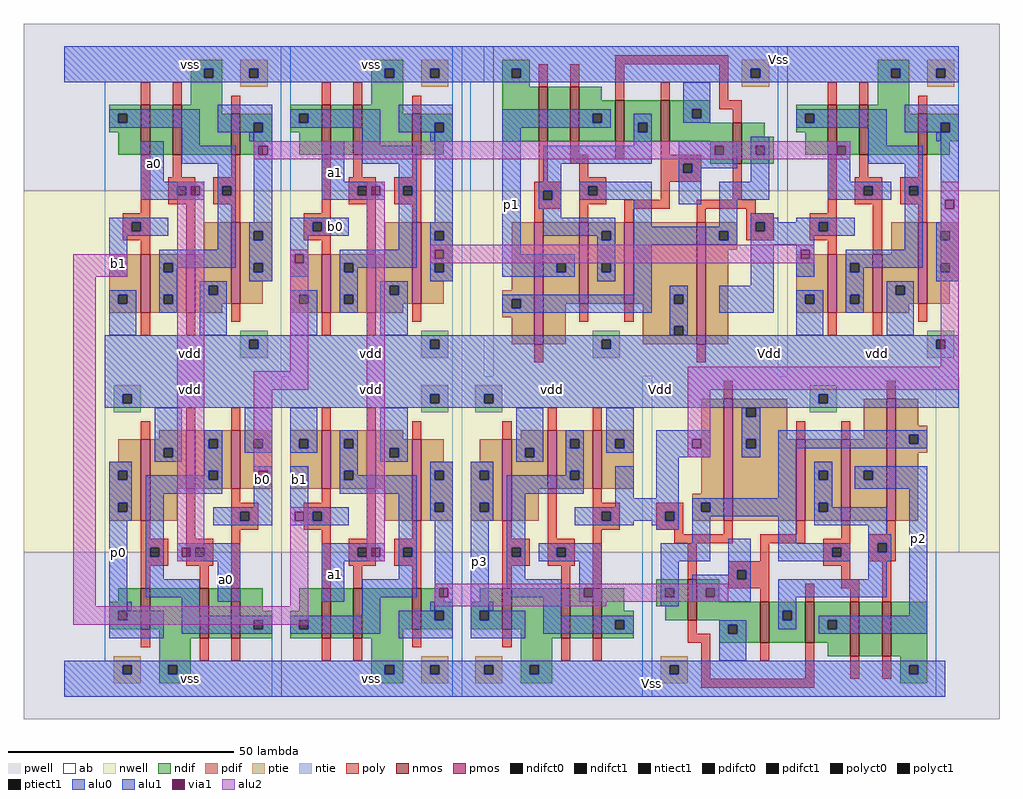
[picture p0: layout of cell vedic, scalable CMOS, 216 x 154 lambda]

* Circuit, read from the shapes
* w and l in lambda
.subckt vedic Vdd Vss a0 a1 b0 b1 p0 p1 p2 p3
M1 Vss n1 p0 Vss nfet w=9 l=2
M2 n2 b1 n3 Vss nfet w=11 l=2
M3 Vss a0 n2 Vss nfet w=11 l=2
M4 n4 a0 Vss Vss nfet w=11 l=2
M5 n1 b0 n4 Vss nfet w=11 l=2
M6 n5 n3 Vss Vss nfet w=9 l=2
M7 n6 b1 n7 Vss nfet w=11 l=2
M8 n8 b0 n9 Vss nfet w=11 l=2
M9 Vss a1 n6 Vss nfet w=11 l=2
M10 Vss a1 n8 Vss nfet w=11 l=2
M11 n10 n7 Vss Vss nfet w=9 l=2
M12 n11 n9 Vss Vss nfet w=9 l=2
M13 Vss n12 p3 Vss nfet w=9 l=2
M14 n13 n14 Vss Vss nfet w=12 l=2
M15 n15 n10 Vss Vss nfet w=11 l=2
M16 p1 n16 n13 Vss nfet w=12 l=2
M17 n12 n17 n15 Vss nfet w=11 l=2
M18 n14 n11 p1 Vss nfet w=9 l=2
M19 Vss n5 n14 Vss nfet w=9 l=2
M20 Vss n17 n18 Vss nfet w=9 l=2
M21 n16 n11 Vss Vss nfet w=9 l=2
M22 n19 n10 Vss Vss nfet w=9 l=2
M23 p2 n17 n19 Vss nfet w=9 l=2
M24 n20 n11 n21 Vss nfet w=11 l=2
M25 n22 n18 p2 Vss nfet w=12 l=2
M26 Vss n5 n20 Vss nfet w=11 l=2
M27 Vss n19 n22 Vss nfet w=12 l=2
M28 n17 n21 Vss Vss nfet w=9 l=2
M29 Vdd n1 p0 Vdd pfet w=18 l=2
M30 n3 b1 Vdd Vdd pfet w=13 l=2
M31 n1 a0 Vdd Vdd pfet w=13 l=2
M32 Vdd a0 n3 Vdd pfet w=13 l=2
M33 Vdd b0 n1 Vdd pfet w=13 l=2
M34 n5 n3 Vdd Vdd pfet w=18 l=2
M35 n7 b1 Vdd Vdd pfet w=13 l=2
M36 n9 b0 Vdd Vdd pfet w=13 l=2
M37 Vdd a1 n7 Vdd pfet w=13 l=2
M38 Vdd a1 n9 Vdd pfet w=13 l=2
M39 n10 n7 Vdd Vdd pfet w=18 l=2
M40 n11 n9 Vdd Vdd pfet w=18 l=2
M41 Vdd n12 p3 Vdd pfet w=18 l=2
M42 p1 n14 n16 Vdd pfet w=27 l=2
M43 n12 n10 Vdd Vdd pfet w=13 l=2
M44 n14 n16 p1 Vdd pfet w=18 l=2
M45 Vdd n17 n12 Vdd pfet w=13 l=2
M46 Vdd n5 n14 Vdd pfet w=18 l=2
M47 n16 n11 Vdd Vdd pfet w=27 l=2
M48 Vdd n17 n18 Vdd pfet w=27 l=2
M49 n19 n10 Vdd Vdd pfet w=18 l=2
M50 n21 n11 Vdd Vdd pfet w=13 l=2
M51 p2 n18 n19 Vdd pfet w=18 l=2
M52 Vdd n5 n21 Vdd pfet w=13 l=2
M53 n18 n19 p2 Vdd pfet w=27 l=2
M54 n17 n21 Vdd Vdd pfet w=18 l=2
.ends

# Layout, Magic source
magic
tech scmos
<< ab >>
rect 18 142 66 150
rect 27 77 66 142
rect 68 77 104 150
rect 27 14 64 77
rect 18 6 64 14
rect 66 6 104 77
rect 106 142 111 150
rect 106 86 108 142
rect 106 77 111 86
rect 113 77 176 150
rect 178 118 216 150
rect 178 77 225 118
rect 106 6 146 77
rect 148 6 211 77
rect 216 38 225 77
<< nwell >>
rect 9 38 225 118
<< pwell >>
rect 9 118 225 155
rect 9 1 225 38
<< poly >>
rect 35 137 37 142
rect 42 137 44 142
rect 55 135 57 139
rect 75 137 77 142
rect 82 137 84 142
rect 140 146 165 148
rect 123 141 125 146
rect 130 141 132 146
rect 95 135 97 139
rect 140 138 142 146
rect 150 138 152 142
rect 163 138 165 146
rect 163 136 168 138
rect 187 137 189 142
rect 194 137 196 142
rect 166 133 168 136
rect 35 113 37 126
rect 42 121 44 126
rect 55 121 57 126
rect 41 119 47 121
rect 41 117 43 119
rect 45 117 47 119
rect 41 115 47 117
rect 51 119 57 121
rect 51 117 53 119
rect 55 117 57 119
rect 51 115 57 117
rect 31 111 37 113
rect 31 109 33 111
rect 35 109 37 111
rect 31 107 37 109
rect 35 104 37 107
rect 45 104 47 115
rect 55 111 57 115
rect 75 113 77 126
rect 82 121 84 126
rect 95 121 97 126
rect 81 119 87 121
rect 81 117 83 119
rect 85 117 87 119
rect 81 115 87 117
rect 91 119 97 121
rect 123 120 125 129
rect 130 126 132 129
rect 130 124 134 126
rect 140 125 142 129
rect 150 126 152 129
rect 132 121 134 124
rect 150 124 159 126
rect 207 135 209 139
rect 150 122 155 124
rect 157 122 159 124
rect 91 117 93 119
rect 95 117 97 119
rect 91 115 97 117
rect 71 111 77 113
rect 71 109 73 111
rect 75 109 77 111
rect 71 107 77 109
rect 75 104 77 107
rect 85 104 87 115
rect 95 111 97 115
rect 122 118 128 120
rect 122 116 124 118
rect 126 116 128 118
rect 122 114 128 116
rect 132 119 138 121
rect 132 117 134 119
rect 136 117 138 119
rect 132 115 138 117
rect 150 120 159 122
rect 150 116 152 120
rect 166 116 168 124
rect 122 111 124 114
rect 132 111 134 115
rect 142 114 152 116
rect 158 114 171 116
rect 142 111 144 114
rect 158 111 160 114
rect 169 113 171 114
rect 187 113 189 126
rect 194 121 196 126
rect 207 121 209 126
rect 193 119 199 121
rect 193 117 195 119
rect 197 117 199 119
rect 193 115 199 117
rect 203 119 209 121
rect 203 117 205 119
rect 207 117 209 119
rect 203 115 209 117
rect 169 111 175 113
rect 35 86 37 91
rect 45 86 47 91
rect 55 89 57 93
rect 75 86 77 91
rect 85 86 87 91
rect 95 89 97 93
rect 132 89 134 93
rect 142 89 144 93
rect 122 80 124 84
rect 169 109 171 111
rect 173 109 175 111
rect 169 107 175 109
rect 183 111 189 113
rect 183 109 185 111
rect 187 109 189 111
rect 183 107 189 109
rect 187 104 189 107
rect 197 104 199 115
rect 207 111 209 115
rect 187 86 189 91
rect 197 86 199 91
rect 207 89 209 93
rect 158 80 160 84
rect 35 63 37 67
rect 45 65 47 70
rect 55 65 57 70
rect 75 65 77 70
rect 85 65 87 70
rect 164 72 166 76
rect 95 63 97 67
rect 115 63 117 67
rect 125 65 127 70
rect 135 65 137 70
rect 35 41 37 45
rect 45 41 47 52
rect 55 49 57 52
rect 75 49 77 52
rect 55 47 61 49
rect 55 45 57 47
rect 59 45 61 47
rect 55 43 61 45
rect 71 47 77 49
rect 71 45 73 47
rect 75 45 77 47
rect 71 43 77 45
rect 35 39 41 41
rect 35 37 37 39
rect 39 37 41 39
rect 35 35 41 37
rect 45 39 51 41
rect 45 37 47 39
rect 49 37 51 39
rect 45 35 51 37
rect 35 30 37 35
rect 48 30 50 35
rect 55 30 57 43
rect 75 30 77 43
rect 85 41 87 52
rect 95 41 97 45
rect 81 39 87 41
rect 81 37 83 39
rect 85 37 87 39
rect 81 35 87 37
rect 91 39 97 41
rect 91 37 93 39
rect 95 37 97 39
rect 91 35 97 37
rect 82 30 84 35
rect 95 30 97 35
rect 115 41 117 45
rect 125 41 127 52
rect 135 49 137 52
rect 135 47 141 49
rect 135 45 137 47
rect 139 45 141 47
rect 135 43 141 45
rect 149 47 155 49
rect 149 45 151 47
rect 153 45 155 47
rect 200 72 202 76
rect 180 63 182 67
rect 190 63 192 67
rect 149 43 155 45
rect 115 39 121 41
rect 115 37 117 39
rect 119 37 121 39
rect 115 35 121 37
rect 125 39 131 41
rect 125 37 127 39
rect 129 37 131 39
rect 125 35 131 37
rect 115 30 117 35
rect 128 30 130 35
rect 135 30 137 43
rect 153 42 155 43
rect 164 42 166 45
rect 180 42 182 45
rect 153 40 166 42
rect 172 40 182 42
rect 190 41 192 45
rect 200 42 202 45
rect 156 32 158 40
rect 172 36 174 40
rect 165 34 174 36
rect 186 39 192 41
rect 186 37 188 39
rect 190 37 192 39
rect 186 35 192 37
rect 196 40 202 42
rect 196 38 198 40
rect 200 38 202 40
rect 196 36 202 38
rect 165 32 167 34
rect 169 32 174 34
rect 35 17 37 21
rect 48 14 50 19
rect 55 14 57 19
rect 75 14 77 19
rect 82 14 84 19
rect 95 17 97 21
rect 115 17 117 21
rect 165 30 174 32
rect 190 32 192 35
rect 172 27 174 30
rect 182 27 184 31
rect 190 30 194 32
rect 192 27 194 30
rect 199 27 201 36
rect 156 20 158 23
rect 128 14 130 19
rect 135 14 137 19
rect 156 18 161 20
rect 159 10 161 18
rect 172 14 174 18
rect 182 10 184 18
rect 192 10 194 15
rect 199 10 201 15
rect 159 8 184 10
<< ndif >>
rect 46 145 53 147
rect 46 143 49 145
rect 51 143 53 145
rect 46 137 53 143
rect 86 145 93 147
rect 86 143 89 145
rect 91 143 93 145
rect 28 135 35 137
rect 28 133 30 135
rect 32 133 35 135
rect 28 131 35 133
rect 30 126 35 131
rect 37 126 42 137
rect 44 135 53 137
rect 86 137 93 143
rect 115 145 121 147
rect 115 143 117 145
rect 119 143 121 145
rect 115 141 121 143
rect 68 135 75 137
rect 44 126 55 135
rect 57 133 64 135
rect 57 131 60 133
rect 62 131 64 133
rect 68 133 70 135
rect 72 133 75 135
rect 68 131 75 133
rect 57 129 64 131
rect 57 126 62 129
rect 70 126 75 131
rect 77 126 82 137
rect 84 135 93 137
rect 84 126 95 135
rect 97 133 104 135
rect 97 131 100 133
rect 102 131 104 133
rect 97 129 104 131
rect 115 129 123 141
rect 125 129 130 141
rect 132 138 137 141
rect 198 145 205 147
rect 198 143 201 145
rect 203 143 205 145
rect 132 135 140 138
rect 132 133 135 135
rect 137 133 140 135
rect 132 129 140 133
rect 142 133 150 138
rect 142 131 145 133
rect 147 131 150 133
rect 142 129 150 131
rect 152 136 161 138
rect 198 137 205 143
rect 152 134 157 136
rect 159 134 161 136
rect 152 133 161 134
rect 180 135 187 137
rect 180 133 182 135
rect 184 133 187 135
rect 152 129 166 133
rect 97 126 102 129
rect 161 124 166 129
rect 168 130 173 133
rect 180 131 187 133
rect 168 128 175 130
rect 168 126 171 128
rect 173 126 175 128
rect 182 126 187 131
rect 189 126 194 137
rect 196 135 205 137
rect 196 126 207 135
rect 209 133 216 135
rect 209 131 212 133
rect 214 131 216 133
rect 209 129 216 131
rect 209 126 214 129
rect 168 124 175 126
rect 149 30 156 32
rect 30 27 35 30
rect 28 25 35 27
rect 28 23 30 25
rect 32 23 35 25
rect 28 21 35 23
rect 37 21 48 30
rect 39 19 48 21
rect 50 19 55 30
rect 57 25 62 30
rect 70 25 75 30
rect 57 23 64 25
rect 57 21 60 23
rect 62 21 64 23
rect 57 19 64 21
rect 68 23 75 25
rect 68 21 70 23
rect 72 21 75 23
rect 68 19 75 21
rect 77 19 82 30
rect 84 21 95 30
rect 97 27 102 30
rect 110 27 115 30
rect 97 25 104 27
rect 97 23 100 25
rect 102 23 104 25
rect 97 21 104 23
rect 108 25 115 27
rect 108 23 110 25
rect 112 23 115 25
rect 108 21 115 23
rect 117 21 128 30
rect 84 19 93 21
rect 39 13 46 19
rect 39 11 41 13
rect 43 11 46 13
rect 39 9 46 11
rect 86 13 93 19
rect 119 19 128 21
rect 130 19 135 30
rect 137 25 142 30
rect 149 28 151 30
rect 153 28 156 30
rect 149 26 156 28
rect 137 23 144 25
rect 151 23 156 26
rect 158 27 163 32
rect 158 23 172 27
rect 137 21 140 23
rect 142 21 144 23
rect 137 19 144 21
rect 163 22 172 23
rect 163 20 165 22
rect 167 20 172 22
rect 86 11 89 13
rect 91 11 93 13
rect 86 9 93 11
rect 119 13 126 19
rect 163 18 172 20
rect 174 25 182 27
rect 174 23 177 25
rect 179 23 182 25
rect 174 18 182 23
rect 184 23 192 27
rect 184 21 187 23
rect 189 21 192 23
rect 184 18 192 21
rect 119 11 121 13
rect 123 11 126 13
rect 119 9 126 11
rect 187 15 192 18
rect 194 15 199 27
rect 201 15 209 27
rect 203 13 209 15
rect 203 11 205 13
rect 207 11 209 13
rect 203 9 209 11
<< pdif >>
rect 49 104 55 111
rect 28 95 35 104
rect 28 93 30 95
rect 32 93 35 95
rect 28 91 35 93
rect 37 102 45 104
rect 37 100 40 102
rect 42 100 45 102
rect 37 95 45 100
rect 37 93 40 95
rect 42 93 45 95
rect 37 91 45 93
rect 47 97 55 104
rect 47 95 50 97
rect 52 95 55 97
rect 47 93 55 95
rect 57 109 64 111
rect 57 107 60 109
rect 62 107 64 109
rect 57 102 64 107
rect 89 104 95 111
rect 57 100 60 102
rect 62 100 64 102
rect 57 98 64 100
rect 57 93 62 98
rect 68 95 75 104
rect 68 93 70 95
rect 72 93 75 95
rect 47 91 53 93
rect 68 91 75 93
rect 77 102 85 104
rect 77 100 80 102
rect 82 100 85 102
rect 77 95 85 100
rect 77 93 80 95
rect 82 93 85 95
rect 77 91 85 93
rect 87 97 95 104
rect 87 95 90 97
rect 92 95 95 97
rect 87 93 95 95
rect 97 109 104 111
rect 97 107 100 109
rect 102 107 104 109
rect 97 102 104 107
rect 97 100 100 102
rect 102 100 104 102
rect 97 98 104 100
rect 97 93 102 98
rect 117 96 122 111
rect 115 94 122 96
rect 87 91 93 93
rect 115 92 117 94
rect 119 92 122 94
rect 115 90 122 92
rect 117 84 122 90
rect 124 102 132 111
rect 124 100 127 102
rect 129 100 132 102
rect 124 93 132 100
rect 134 109 142 111
rect 134 107 137 109
rect 139 107 142 109
rect 134 102 142 107
rect 134 100 137 102
rect 139 100 142 102
rect 134 93 142 100
rect 144 95 158 111
rect 144 93 153 95
rect 155 93 158 95
rect 124 84 129 93
rect 146 88 158 93
rect 146 86 153 88
rect 155 86 158 88
rect 146 84 158 86
rect 160 109 167 111
rect 160 107 163 109
rect 165 107 167 109
rect 160 105 167 107
rect 160 84 165 105
rect 201 104 207 111
rect 180 95 187 104
rect 180 93 182 95
rect 184 93 187 95
rect 180 91 187 93
rect 189 102 197 104
rect 189 100 192 102
rect 194 100 197 102
rect 189 95 197 100
rect 189 93 192 95
rect 194 93 197 95
rect 189 91 197 93
rect 199 97 207 104
rect 199 95 202 97
rect 204 95 207 97
rect 199 93 207 95
rect 209 109 216 111
rect 209 107 212 109
rect 214 107 216 109
rect 209 102 216 107
rect 209 100 212 102
rect 214 100 216 102
rect 209 98 216 100
rect 209 93 214 98
rect 199 91 205 93
rect 39 63 45 65
rect 30 58 35 63
rect 28 56 35 58
rect 28 54 30 56
rect 32 54 35 56
rect 28 49 35 54
rect 28 47 30 49
rect 32 47 35 49
rect 28 45 35 47
rect 37 61 45 63
rect 37 59 40 61
rect 42 59 45 61
rect 37 52 45 59
rect 47 63 55 65
rect 47 61 50 63
rect 52 61 55 63
rect 47 56 55 61
rect 47 54 50 56
rect 52 54 55 56
rect 47 52 55 54
rect 57 63 64 65
rect 57 61 60 63
rect 62 61 64 63
rect 57 52 64 61
rect 68 63 75 65
rect 68 61 70 63
rect 72 61 75 63
rect 68 52 75 61
rect 77 63 85 65
rect 77 61 80 63
rect 82 61 85 63
rect 77 56 85 61
rect 77 54 80 56
rect 82 54 85 56
rect 77 52 85 54
rect 87 63 93 65
rect 119 63 125 65
rect 87 61 95 63
rect 87 59 90 61
rect 92 59 95 61
rect 87 52 95 59
rect 37 45 43 52
rect 89 45 95 52
rect 97 58 102 63
rect 110 58 115 63
rect 97 56 104 58
rect 97 54 100 56
rect 102 54 104 56
rect 97 49 104 54
rect 97 47 100 49
rect 102 47 104 49
rect 97 45 104 47
rect 108 56 115 58
rect 108 54 110 56
rect 112 54 115 56
rect 108 49 115 54
rect 108 47 110 49
rect 112 47 115 49
rect 108 45 115 47
rect 117 61 125 63
rect 117 59 120 61
rect 122 59 125 61
rect 117 52 125 59
rect 127 63 135 65
rect 127 61 130 63
rect 132 61 135 63
rect 127 56 135 61
rect 127 54 130 56
rect 132 54 135 56
rect 127 52 135 54
rect 137 63 144 65
rect 137 61 140 63
rect 142 61 144 63
rect 137 52 144 61
rect 117 45 123 52
rect 159 51 164 72
rect 157 49 164 51
rect 157 47 159 49
rect 161 47 164 49
rect 157 45 164 47
rect 166 70 178 72
rect 166 68 169 70
rect 171 68 178 70
rect 166 63 178 68
rect 195 63 200 72
rect 166 61 169 63
rect 171 61 180 63
rect 166 45 180 61
rect 182 56 190 63
rect 182 54 185 56
rect 187 54 190 56
rect 182 49 190 54
rect 182 47 185 49
rect 187 47 190 49
rect 182 45 190 47
rect 192 56 200 63
rect 192 54 195 56
rect 197 54 200 56
rect 192 45 200 54
rect 202 66 207 72
rect 202 64 209 66
rect 202 62 205 64
rect 207 62 209 64
rect 202 60 209 62
rect 202 45 207 60
<< alu1 >>
rect 18 145 216 150
rect 18 143 49 145
rect 51 143 59 145
rect 61 143 89 145
rect 91 143 99 145
rect 101 143 117 145
rect 119 143 170 145
rect 172 143 201 145
rect 203 143 211 145
rect 213 143 216 145
rect 18 142 216 143
rect 35 120 40 129
rect 52 133 64 137
rect 52 131 60 133
rect 62 131 64 133
rect 60 128 64 131
rect 35 119 49 120
rect 35 117 43 119
rect 45 117 46 119
rect 48 117 49 119
rect 35 116 49 117
rect 28 111 41 112
rect 28 109 33 111
rect 35 109 41 111
rect 28 108 41 109
rect 28 103 32 108
rect 60 126 61 128
rect 63 126 64 128
rect 60 111 64 126
rect 75 120 80 129
rect 92 133 104 137
rect 92 131 100 133
rect 102 131 104 133
rect 75 119 89 120
rect 75 117 83 119
rect 85 117 86 119
rect 88 117 89 119
rect 75 116 89 117
rect 28 101 29 103
rect 31 101 32 103
rect 28 99 32 101
rect 59 109 64 111
rect 59 107 60 109
rect 62 107 64 109
rect 59 102 64 107
rect 59 100 60 102
rect 62 100 64 102
rect 59 98 64 100
rect 68 111 81 112
rect 68 109 73 111
rect 75 109 81 111
rect 68 108 81 109
rect 68 104 72 108
rect 100 111 104 131
rect 68 102 69 104
rect 71 102 72 104
rect 68 99 72 102
rect 99 109 104 111
rect 99 107 100 109
rect 102 107 104 109
rect 99 105 104 107
rect 99 103 100 105
rect 102 103 104 105
rect 99 102 104 103
rect 99 100 100 102
rect 102 100 104 102
rect 99 98 104 100
rect 115 135 139 136
rect 115 133 135 135
rect 137 133 139 135
rect 115 132 139 133
rect 115 104 119 132
rect 154 128 167 129
rect 154 126 162 128
rect 164 126 167 128
rect 154 124 167 126
rect 154 122 155 124
rect 157 123 167 124
rect 157 122 159 123
rect 115 102 131 104
rect 115 100 127 102
rect 129 100 131 102
rect 115 99 131 100
rect 154 115 159 122
rect 187 128 192 129
rect 187 126 189 128
rect 191 126 192 128
rect 187 120 192 126
rect 204 133 216 137
rect 204 131 212 133
rect 214 131 216 133
rect 187 119 201 120
rect 187 117 195 119
rect 197 117 201 119
rect 187 116 201 117
rect 170 112 175 113
rect 170 111 176 112
rect 180 111 193 112
rect 170 109 171 111
rect 173 109 185 111
rect 187 109 193 111
rect 170 108 193 109
rect 170 106 184 108
rect 170 97 175 106
rect 180 105 184 106
rect 212 116 216 131
rect 212 114 213 116
rect 215 114 216 116
rect 212 111 216 114
rect 180 103 181 105
rect 183 103 184 105
rect 180 99 184 103
rect 211 109 216 111
rect 211 107 212 109
rect 214 107 216 109
rect 211 102 216 107
rect 163 91 175 97
rect 211 100 212 102
rect 214 100 216 102
rect 211 98 216 100
rect 27 85 216 86
rect 27 83 59 85
rect 61 83 99 85
rect 101 83 137 85
rect 139 83 211 85
rect 213 83 216 85
rect 27 73 216 83
rect 27 71 31 73
rect 33 71 99 73
rect 101 71 111 73
rect 113 71 185 73
rect 187 71 216 73
rect 27 70 216 71
rect 28 56 33 58
rect 28 54 30 56
rect 32 54 33 56
rect 28 49 33 54
rect 28 47 30 49
rect 32 47 33 49
rect 28 45 33 47
rect 60 56 64 57
rect 60 54 61 56
rect 63 54 64 56
rect 28 25 32 45
rect 60 48 64 54
rect 51 47 64 48
rect 51 45 57 47
rect 59 45 64 47
rect 51 44 64 45
rect 68 48 72 57
rect 99 56 104 58
rect 68 47 81 48
rect 68 45 69 47
rect 71 45 73 47
rect 75 45 81 47
rect 68 44 81 45
rect 43 39 57 40
rect 43 37 44 39
rect 46 37 47 39
rect 49 37 57 39
rect 43 36 57 37
rect 28 23 30 25
rect 32 23 40 25
rect 28 19 40 23
rect 52 27 57 36
rect 75 39 89 40
rect 75 37 83 39
rect 85 37 86 39
rect 88 37 89 39
rect 75 36 89 37
rect 99 54 100 56
rect 102 54 104 56
rect 99 49 104 54
rect 99 47 100 49
rect 102 47 104 49
rect 99 45 104 47
rect 75 27 80 36
rect 100 30 104 45
rect 100 28 101 30
rect 103 28 104 30
rect 100 25 104 28
rect 92 23 100 25
rect 102 23 104 25
rect 92 19 104 23
rect 108 56 113 58
rect 108 54 110 56
rect 112 54 113 56
rect 149 63 161 65
rect 149 61 157 63
rect 159 61 161 63
rect 149 59 161 61
rect 108 49 113 54
rect 108 47 110 49
rect 112 47 113 49
rect 108 45 113 47
rect 108 25 112 45
rect 140 50 144 57
rect 149 50 154 59
rect 140 48 154 50
rect 131 47 154 48
rect 131 45 137 47
rect 139 45 151 47
rect 153 45 154 47
rect 131 44 144 45
rect 148 44 154 45
rect 149 43 154 44
rect 123 39 137 40
rect 123 37 127 39
rect 129 37 137 39
rect 123 36 137 37
rect 108 23 110 25
rect 112 23 120 25
rect 108 19 120 23
rect 132 30 137 36
rect 132 28 133 30
rect 135 28 137 30
rect 132 27 137 28
rect 165 34 170 41
rect 193 56 209 57
rect 193 54 195 56
rect 197 54 209 56
rect 193 52 209 54
rect 165 33 167 34
rect 157 32 167 33
rect 169 32 170 34
rect 157 30 170 32
rect 157 28 160 30
rect 162 28 170 30
rect 157 27 170 28
rect 205 24 209 52
rect 185 23 209 24
rect 185 21 187 23
rect 189 21 209 23
rect 185 20 209 21
rect 18 13 213 14
rect 18 11 31 13
rect 33 11 41 13
rect 43 11 89 13
rect 91 11 99 13
rect 101 11 111 13
rect 113 11 121 13
rect 123 11 152 13
rect 154 11 205 13
rect 207 11 213 13
rect 18 6 213 11
<< alu2 >>
rect 60 128 192 129
rect 60 126 61 128
rect 63 126 162 128
rect 164 126 189 128
rect 191 126 192 128
rect 60 125 192 126
rect 43 119 49 120
rect 43 117 46 119
rect 48 117 49 119
rect 20 103 32 104
rect 20 101 29 103
rect 31 101 32 103
rect 20 99 32 101
rect 20 26 25 99
rect 43 39 49 117
rect 85 119 89 120
rect 85 117 86 119
rect 88 117 89 119
rect 68 104 72 105
rect 68 102 69 104
rect 71 102 72 104
rect 68 78 72 102
rect 60 74 72 78
rect 60 56 64 74
rect 60 54 61 56
rect 63 54 64 56
rect 60 53 64 54
rect 43 37 44 39
rect 46 37 49 39
rect 43 36 49 37
rect 68 47 72 48
rect 68 45 69 47
rect 71 45 72 47
rect 68 26 72 45
rect 85 39 89 117
rect 212 116 216 120
rect 212 114 213 116
rect 215 114 216 116
rect 99 105 184 106
rect 99 103 100 105
rect 102 103 181 105
rect 183 103 184 105
rect 99 102 184 103
rect 212 79 216 114
rect 156 74 216 79
rect 156 63 161 74
rect 156 61 157 63
rect 159 61 161 63
rect 156 59 161 61
rect 85 37 86 39
rect 88 37 89 39
rect 85 36 89 37
rect 100 30 165 31
rect 100 28 101 30
rect 103 28 133 30
rect 135 28 160 30
rect 162 28 165 30
rect 100 27 165 28
rect 100 26 138 27
rect 20 22 72 26
<< ptie >>
rect 57 145 63 147
rect 57 143 59 145
rect 61 143 63 145
rect 57 141 63 143
rect 97 145 103 147
rect 97 143 99 145
rect 101 143 103 145
rect 97 141 103 143
rect 168 145 174 147
rect 168 143 170 145
rect 172 143 174 145
rect 168 141 174 143
rect 209 145 215 147
rect 209 143 211 145
rect 213 143 215 145
rect 209 141 215 143
rect 29 13 35 15
rect 29 11 31 13
rect 33 11 35 13
rect 29 9 35 11
rect 97 13 103 15
rect 97 11 99 13
rect 101 11 103 13
rect 97 9 103 11
rect 109 13 115 15
rect 109 11 111 13
rect 113 11 115 13
rect 109 9 115 11
rect 150 13 156 15
rect 150 11 152 13
rect 154 11 156 13
rect 150 9 156 11
<< ntie >>
rect 57 85 63 87
rect 57 83 59 85
rect 61 83 63 85
rect 57 81 63 83
rect 97 85 103 87
rect 97 83 99 85
rect 101 83 103 85
rect 135 85 141 87
rect 97 81 103 83
rect 135 83 137 85
rect 139 83 141 85
rect 209 85 215 87
rect 135 81 141 83
rect 209 83 211 85
rect 213 83 215 85
rect 209 81 215 83
rect 29 73 35 75
rect 29 71 31 73
rect 33 71 35 73
rect 29 69 35 71
rect 97 73 103 75
rect 97 71 99 73
rect 101 71 103 73
rect 97 69 103 71
rect 109 73 115 75
rect 109 71 111 73
rect 113 71 115 73
rect 183 73 189 75
rect 109 69 115 71
rect 183 71 185 73
rect 187 71 189 73
rect 183 69 189 71
<< nmos >>
rect 35 126 37 137
rect 42 126 44 137
rect 55 126 57 135
rect 75 126 77 137
rect 82 126 84 137
rect 95 126 97 135
rect 123 129 125 141
rect 130 129 132 141
rect 140 129 142 138
rect 150 129 152 138
rect 166 124 168 133
rect 187 126 189 137
rect 194 126 196 137
rect 207 126 209 135
rect 35 21 37 30
rect 48 19 50 30
rect 55 19 57 30
rect 75 19 77 30
rect 82 19 84 30
rect 95 21 97 30
rect 115 21 117 30
rect 128 19 130 30
rect 135 19 137 30
rect 156 23 158 32
rect 172 18 174 27
rect 182 18 184 27
rect 192 15 194 27
rect 199 15 201 27
<< pmos >>
rect 35 91 37 104
rect 45 91 47 104
rect 55 93 57 111
rect 75 91 77 104
rect 85 91 87 104
rect 95 93 97 111
rect 122 84 124 111
rect 132 93 134 111
rect 142 93 144 111
rect 158 84 160 111
rect 187 91 189 104
rect 197 91 199 104
rect 207 93 209 111
rect 35 45 37 63
rect 45 52 47 65
rect 55 52 57 65
rect 75 52 77 65
rect 85 52 87 65
rect 95 45 97 63
rect 115 45 117 63
rect 125 52 127 65
rect 135 52 137 65
rect 164 45 166 72
rect 180 45 182 63
rect 190 45 192 63
rect 200 45 202 72
<< polyct0 >>
rect 53 117 55 119
rect 93 117 95 119
rect 124 116 126 118
rect 134 117 136 119
rect 205 117 207 119
rect 37 37 39 39
rect 93 37 95 39
rect 117 37 119 39
rect 188 37 190 39
rect 198 38 200 40
<< polyct1 >>
rect 43 117 45 119
rect 33 109 35 111
rect 83 117 85 119
rect 155 122 157 124
rect 73 109 75 111
rect 195 117 197 119
rect 171 109 173 111
rect 185 109 187 111
rect 57 45 59 47
rect 73 45 75 47
rect 47 37 49 39
rect 83 37 85 39
rect 137 45 139 47
rect 151 45 153 47
rect 127 37 129 39
rect 167 32 169 34
<< ndifct0 >>
rect 30 133 32 135
rect 70 133 72 135
rect 145 131 147 133
rect 157 134 159 136
rect 182 133 184 135
rect 171 126 173 128
rect 60 21 62 23
rect 70 21 72 23
rect 151 28 153 30
rect 140 21 142 23
rect 165 20 167 22
rect 177 23 179 25
<< ndifct1 >>
rect 49 143 51 145
rect 89 143 91 145
rect 117 143 119 145
rect 60 131 62 133
rect 100 131 102 133
rect 201 143 203 145
rect 135 133 137 135
rect 212 131 214 133
rect 30 23 32 25
rect 100 23 102 25
rect 110 23 112 25
rect 41 11 43 13
rect 89 11 91 13
rect 187 21 189 23
rect 121 11 123 13
rect 205 11 207 13
<< ntiect1 >>
rect 59 83 61 85
rect 99 83 101 85
rect 137 83 139 85
rect 211 83 213 85
rect 31 71 33 73
rect 99 71 101 73
rect 111 71 113 73
rect 185 71 187 73
<< ptiect1 >>
rect 59 143 61 145
rect 99 143 101 145
rect 170 143 172 145
rect 211 143 213 145
rect 31 11 33 13
rect 99 11 101 13
rect 111 11 113 13
rect 152 11 154 13
<< pdifct0 >>
rect 30 93 32 95
rect 40 100 42 102
rect 40 93 42 95
rect 50 95 52 97
rect 70 93 72 95
rect 80 100 82 102
rect 80 93 82 95
rect 90 95 92 97
rect 117 92 119 94
rect 137 107 139 109
rect 137 100 139 102
rect 153 93 155 95
rect 153 86 155 88
rect 163 107 165 109
rect 182 93 184 95
rect 192 100 194 102
rect 192 93 194 95
rect 202 95 204 97
rect 40 59 42 61
rect 50 61 52 63
rect 50 54 52 56
rect 60 61 62 63
rect 70 61 72 63
rect 80 61 82 63
rect 80 54 82 56
rect 90 59 92 61
rect 120 59 122 61
rect 130 61 132 63
rect 130 54 132 56
rect 140 61 142 63
rect 159 47 161 49
rect 169 68 171 70
rect 169 61 171 63
rect 185 54 187 56
rect 185 47 187 49
rect 205 62 207 64
<< pdifct1 >>
rect 60 107 62 109
rect 60 100 62 102
rect 100 107 102 109
rect 100 100 102 102
rect 127 100 129 102
rect 212 107 214 109
rect 212 100 214 102
rect 30 54 32 56
rect 30 47 32 49
rect 100 54 102 56
rect 100 47 102 49
rect 110 54 112 56
rect 110 47 112 49
rect 195 54 197 56
<< alu0 >>
rect 28 135 48 136
rect 28 133 30 135
rect 32 133 48 135
rect 28 132 48 133
rect 44 128 48 132
rect 68 135 88 136
rect 68 133 70 135
rect 72 133 88 135
rect 68 132 88 133
rect 59 129 60 131
rect 44 124 56 128
rect 52 119 56 124
rect 52 117 53 119
rect 55 117 56 119
rect 52 105 56 117
rect 84 128 88 132
rect 155 136 161 142
rect 99 129 100 131
rect 84 124 96 128
rect 92 119 96 124
rect 92 117 93 119
rect 95 117 96 119
rect 39 102 56 105
rect 39 100 40 102
rect 42 101 56 102
rect 42 100 43 101
rect 28 95 34 96
rect 28 93 30 95
rect 32 93 34 95
rect 28 86 34 93
rect 39 95 43 100
rect 92 105 96 117
rect 79 102 96 105
rect 79 100 80 102
rect 82 101 96 102
rect 82 100 83 101
rect 39 93 40 95
rect 42 93 43 95
rect 39 91 43 93
rect 48 97 54 98
rect 48 95 50 97
rect 52 95 54 97
rect 48 86 54 95
rect 68 95 74 96
rect 68 93 70 95
rect 72 93 74 95
rect 68 86 74 93
rect 79 95 83 100
rect 144 133 148 135
rect 155 134 157 136
rect 159 134 161 136
rect 155 133 161 134
rect 180 135 200 136
rect 180 133 182 135
rect 184 133 200 135
rect 144 131 145 133
rect 147 131 148 133
rect 180 132 200 133
rect 144 128 148 131
rect 124 124 148 128
rect 124 120 128 124
rect 170 128 174 130
rect 170 126 171 128
rect 173 126 174 128
rect 123 118 128 120
rect 123 116 124 118
rect 126 116 128 118
rect 132 119 148 120
rect 132 117 134 119
rect 136 117 148 119
rect 132 116 148 117
rect 123 114 128 116
rect 124 112 128 114
rect 124 109 140 112
rect 124 108 137 109
rect 136 107 137 108
rect 139 107 140 109
rect 136 102 140 107
rect 136 100 137 102
rect 139 100 140 102
rect 136 98 140 100
rect 144 110 148 116
rect 170 120 174 126
rect 163 116 174 120
rect 196 128 200 132
rect 211 129 212 131
rect 196 124 208 128
rect 204 119 208 124
rect 204 117 205 119
rect 207 117 208 119
rect 163 110 167 116
rect 144 109 167 110
rect 144 107 163 109
rect 165 107 167 109
rect 144 106 167 107
rect 79 93 80 95
rect 82 93 83 95
rect 79 91 83 93
rect 88 97 94 98
rect 88 95 90 97
rect 92 95 94 97
rect 144 95 148 106
rect 204 105 208 117
rect 191 102 208 105
rect 191 100 192 102
rect 194 101 208 102
rect 194 100 195 101
rect 88 86 94 95
rect 115 94 148 95
rect 115 92 117 94
rect 119 92 148 94
rect 115 91 148 92
rect 152 95 156 97
rect 152 93 153 95
rect 155 93 156 95
rect 152 88 156 93
rect 180 95 186 96
rect 180 93 182 95
rect 184 93 186 95
rect 152 86 153 88
rect 155 86 156 88
rect 180 86 186 93
rect 191 95 195 100
rect 191 93 192 95
rect 194 93 195 95
rect 191 91 195 93
rect 200 97 206 98
rect 200 95 202 97
rect 204 95 206 97
rect 200 86 206 95
rect 38 61 44 70
rect 38 59 40 61
rect 42 59 44 61
rect 38 58 44 59
rect 49 63 53 65
rect 49 61 50 63
rect 52 61 53 63
rect 49 56 53 61
rect 58 63 64 70
rect 58 61 60 63
rect 62 61 64 63
rect 58 60 64 61
rect 68 63 74 70
rect 68 61 70 63
rect 72 61 74 63
rect 68 60 74 61
rect 79 63 83 65
rect 79 61 80 63
rect 82 61 83 63
rect 49 55 50 56
rect 36 54 50 55
rect 52 54 53 56
rect 36 51 53 54
rect 36 39 40 51
rect 79 56 83 61
rect 88 61 94 70
rect 88 59 90 61
rect 92 59 94 61
rect 88 58 94 59
rect 118 61 124 70
rect 118 59 120 61
rect 122 59 124 61
rect 118 58 124 59
rect 129 63 133 65
rect 129 61 130 63
rect 132 61 133 63
rect 79 54 80 56
rect 82 55 83 56
rect 82 54 96 55
rect 79 51 96 54
rect 36 37 37 39
rect 39 37 40 39
rect 36 32 40 37
rect 36 28 48 32
rect 32 25 33 27
rect 44 24 48 28
rect 92 39 96 51
rect 92 37 93 39
rect 95 37 96 39
rect 92 32 96 37
rect 84 28 96 32
rect 84 24 88 28
rect 99 25 100 27
rect 44 23 64 24
rect 44 21 60 23
rect 62 21 64 23
rect 44 20 64 21
rect 68 23 88 24
rect 68 21 70 23
rect 72 21 88 23
rect 68 20 88 21
rect 129 56 133 61
rect 138 63 144 70
rect 168 68 169 70
rect 171 68 172 70
rect 138 61 140 63
rect 142 61 144 63
rect 138 60 144 61
rect 168 63 172 68
rect 168 61 169 63
rect 171 61 172 63
rect 168 59 172 61
rect 176 64 209 65
rect 176 62 205 64
rect 207 62 209 64
rect 176 61 209 62
rect 129 55 130 56
rect 116 54 130 55
rect 132 54 133 56
rect 116 51 133 54
rect 116 39 120 51
rect 176 50 180 61
rect 157 49 180 50
rect 157 47 159 49
rect 161 47 180 49
rect 157 46 180 47
rect 157 40 161 46
rect 116 37 117 39
rect 119 37 120 39
rect 116 32 120 37
rect 116 28 128 32
rect 112 25 113 27
rect 124 24 128 28
rect 150 36 161 40
rect 150 30 154 36
rect 176 40 180 46
rect 184 56 188 58
rect 184 54 185 56
rect 187 54 188 56
rect 184 49 188 54
rect 184 47 185 49
rect 187 48 188 49
rect 187 47 200 48
rect 184 44 200 47
rect 196 42 200 44
rect 196 40 201 42
rect 176 39 192 40
rect 176 37 188 39
rect 190 37 192 39
rect 176 36 192 37
rect 196 38 198 40
rect 200 38 201 40
rect 196 36 201 38
rect 150 28 151 30
rect 153 28 154 30
rect 150 26 154 28
rect 196 32 200 36
rect 176 28 200 32
rect 176 25 180 28
rect 124 23 144 24
rect 176 23 177 25
rect 179 23 180 25
rect 124 21 140 23
rect 142 21 144 23
rect 124 20 144 21
rect 163 22 169 23
rect 163 20 165 22
rect 167 20 169 22
rect 176 21 180 23
rect 163 14 169 20
<< via1 >>
rect 46 117 48 119
rect 61 126 63 128
rect 86 117 88 119
rect 29 101 31 103
rect 69 102 71 104
rect 100 103 102 105
rect 162 126 164 128
rect 189 126 191 128
rect 213 114 215 116
rect 181 103 183 105
rect 61 54 63 56
rect 69 45 71 47
rect 44 37 46 39
rect 86 37 88 39
rect 101 28 103 30
rect 157 61 159 63
rect 133 28 135 30
rect 160 28 162 30
<< labels >>
rlabel alu1 150 74 150 74 1 Vdd
rlabel alu1 126 74 126 74 6 vdd
rlabel alu1 148 9 148 9 1 Vss
rlabel alu1 46 10 46 10 6 vss
rlabel alu1 46 74 46 74 6 vdd
rlabel alu1 54 32 54 32 1 a0
rlabel alu1 62 54 62 54 1 b0
rlabel alu1 30 38 30 38 1 p0
rlabel alu1 70 54 70 54 1 b1
rlabel alu1 78 33 78 33 1 a1
rlabel alu1 86 10 86 10 4 vss
rlabel alu1 86 74 86 74 4 vdd
rlabel alu1 176 147 176 147 5 Vss
rlabel alu1 198 82 198 82 2 vdd
rlabel alu1 174 82 174 82 5 Vdd
rlabel alu1 207 41 207 41 1 p2
rlabel alu1 117 115 117 115 1 p1
rlabel alu1 110 36 110 36 1 p3
rlabel alu1 46 82 46 82 2 vdd
rlabel alu1 46 146 46 146 2 vss
rlabel alu1 86 146 86 146 2 vss
rlabel alu1 86 82 86 82 2 vdd
rlabel alu1 78 110 78 110 1 b0
rlabel alu1 78 122 78 122 1 a1
rlabel alu1 38 124 38 124 1 a0
rlabel via1 30 102 30 102 1 b1
<< end >>
